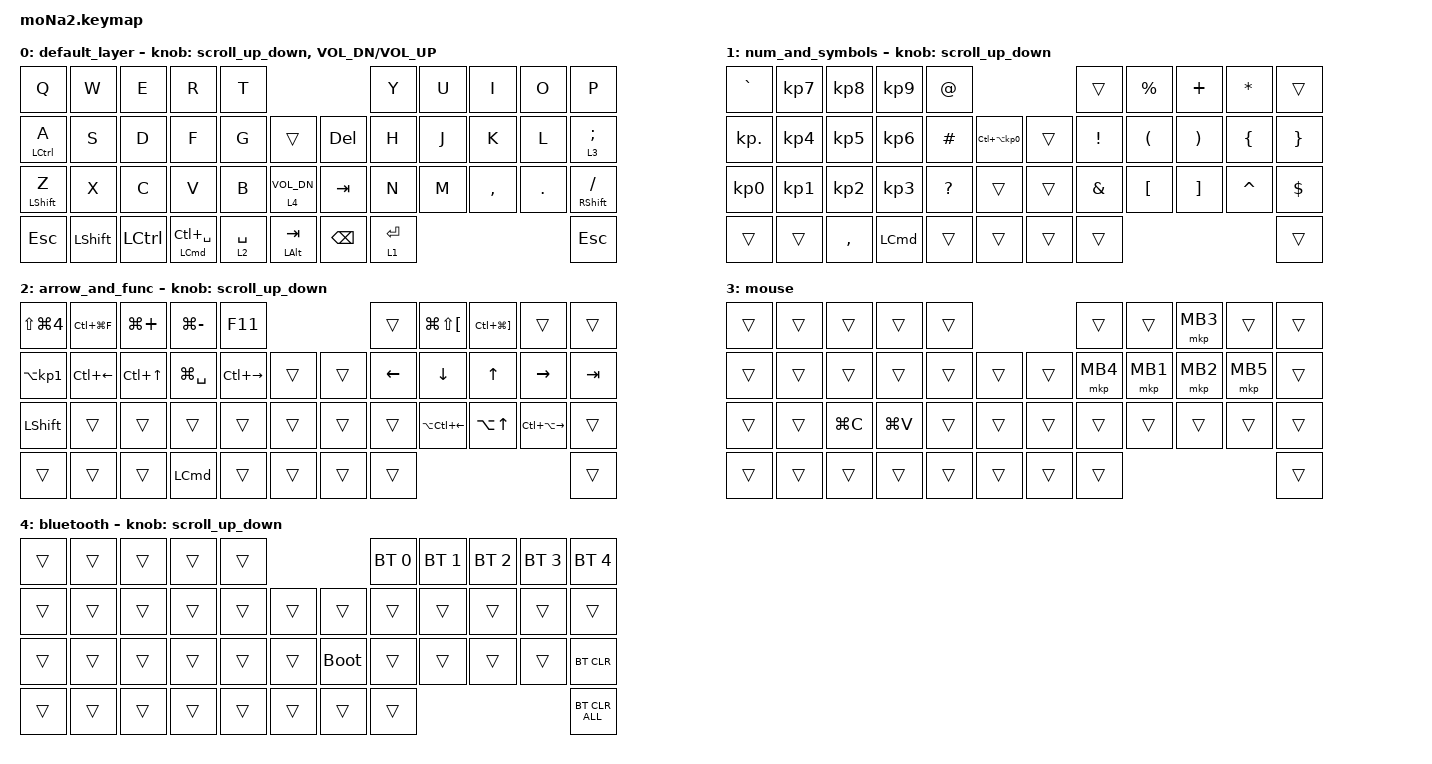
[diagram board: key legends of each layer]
#include <behaviors.dtsi>
#include <dt-bindings/zmk/bt.h>
#include <dt-bindings/zmk/keys.h>
#include <dt-bindings/zmk/pointing.h>

#define ZMK_POINTING_DEFAULT_SCRL_VAL 100
#define MOUSE 6

&mt {
    flavor = "balanced";
    quick-tap-ms = <0>;
};

/ {
    combos {
        compatible = "zmk,combos";

        minus {
            bindings = <&kp MINUS>;
            key-positions = <8 7>;
        };

        eq {
            bindings = <&kp EQUAL>;
            key-positions = <7 20>;
        };

        single_quotation {
            bindings = <&kp SINGLE_QUOTE>;
            key-positions = <21 20>;
        };

        double_quotation {
            bindings = <&kp DOUBLE_QUOTES>;
            key-positions = <20 19>;
        };

        back_slash {
            bindings = <&kp BACKSLASH>;
            key-positions = <32 31>;
        };

        grave {
            bindings = <&kp TILDE>;
            key-positions = <1 2>;
        };

        eq2 {
            bindings = <&kp KP_EQUAL>;
            key-positions = <7 6>;
        };

        dollar {
            bindings = <&kp DOLLAR>;
            key-positions = <30 31>;
        };

        caret {
            bindings = <&kp CARET>;
            key-positions = <24 25>;
        };

        hash {
            bindings = <&kp HASH>;
            key-positions = <23 24>;
        };
    };

    macros {
        to_layer_0: to_layer_0 {
            compatible = "zmk,behavior-macro-one-param";
            #binding-cells = <1>;
            bindings = <&to 1 &macro_param_1to1 &kp MACRO_PLACEHOLDER>;
            label = "TO_LAYER_0";
        };
    };

    behaviors {
        lt_to_layer_0: lt_to_layer_0 {
            compatible = "zmk,behavior-hold-tap";
            label = "LAYER_TAP_TO_0";
            bindings = <&mo>, <&to_layer_0>;

            #binding-cells = <2>;
            tapping-term-ms = <200>;
        };

        scroll_up_down: behavior_sensor_rotate_mouse_wheel_up_down {
            compatible = "zmk,behavior-sensor-rotate";
            #sensor-binding-cells = <0>;
            bindings = <&msc SCRL_UP>, <&msc SCRL_DOWN>;

            tap-ms = <20>;
        };
    };

    keymap {
        compatible = "zmk,keymap";

        default_layer {
            bindings = <
&kp Q               &kp W           &kp E             &kp R                       &kp T                                           &kp Y        &kp U  &kp I      &kp O    &kp P
&mt LEFT_CONTROL A  &kp S           &kp D             &kp F                       &kp G        &trans              &kp DELETE     &kp H        &kp J  &kp K      &kp L    &lt 3 SEMICOLON
&mt LEFT_SHIFT Z    &kp X           &kp C             &kp V                       &kp B        &lt 4 C_VOL_DN      &kp TAB        &kp N        &kp M  &kp COMMA  &kp DOT  &mt RIGHT_SHIFT SLASH
&kp ESC             &kp LEFT_SHIFT  &kp LEFT_CONTROL  &mt LEFT_COMMAND LC(SPACE)  &lt 2 SPACE  &mt LEFT_ALT TAB    &kp BACKSPACE  &lt 1 ENTER                             &kp ESCAPE
            >;

            sensor-bindings =
                <&scroll_up_down>,
                <&inc_dec_kp C_VOL_DN C_VOL_UP>;
        };

        num_and_symbols {
            bindings = <
&kp GRAVE        &kp KP_NUMBER_7  &kp KP_NUMBER_8  &kp KP_NUMBER_9   &kp AT                                           &trans         &kp PERCENT           &kp PLUS               &kp ASTERISK    &trans
&kp KP_DOT       &kp KP_NUMBER_4  &kp KP_NUMBER_5  &kp KP_NUMBER_6   &kp HASH      &kp LC(LA(KP_NUMBER_0))    &trans  &kp EXCL       &kp LEFT_PARENTHESIS  &kp RIGHT_PARENTHESIS  &kp LEFT_BRACE  &kp RIGHT_BRACE
&kp KP_NUMBER_0  &kp KP_NUMBER_1  &kp KP_NUMBER_2  &kp KP_NUMBER_3   &kp QUESTION  &trans                     &trans  &kp AMPERSAND  &kp LEFT_BRACKET      &kp RIGHT_BRACKET      &kp CARET       &kp DOLLAR
&trans           &trans           &kp COMMA        &kp LEFT_COMMAND  &trans        &trans                     &trans  &trans                                                                      &trans
            >;

            sensor-bindings = <&scroll_up_down>;
        };

        arrow_and_func {
            bindings = <
&kp LS(LG(NUMBER_4))  &kp LC(LG(F))       &kp LG(PLUS)      &kp LG(MINUS)     &kp F11                                &trans    &kp LG(LS(LEFT_BRACKET))  &kp LC(LG(RIGHT_BRACKET))  &trans             &trans
&kp LA(KP_NUMBER_1)   &kp LC(LEFT_ARROW)  &kp LC(UP_ARROW)  &kp LG(SPACE)     &kp LC(RIGHT_ARROW)  &trans    &trans  &kp LEFT  &kp DOWN_ARROW            &kp UP_ARROW               &kp RIGHT_ARROW    &kp TAB
&kp LEFT_SHIFT        &trans              &trans            &trans            &trans               &trans    &trans  &trans    &kp LA(LC(LEFT))          &kp LA(UP_ARROW)           &kp LC(LA(RIGHT))  &trans
&trans                &trans              &trans            &kp LEFT_COMMAND  &trans               &trans    &trans  &trans                                                                            &trans
            >;

            sensor-bindings = <&scroll_up_down>;
        };

        mouse {
            bindings = <
&trans  &trans  &trans     &trans     &trans                    &trans    &trans    &mkp MB3  &trans    &trans
&trans  &trans  &trans     &trans     &trans  &trans    &trans  &mkp MB4  &mkp MB1  &mkp MB2  &mkp MB5  &trans
&trans  &trans  &kp LG(C)  &kp LG(V)  &trans  &trans    &trans  &trans    &trans    &trans    &trans    &trans
&trans  &trans  &trans     &trans     &trans  &trans    &trans  &trans                                  &trans
            >;
        };

        bluetooth {
            bindings = <
&trans  &trans  &trans  &trans  &trans                         &bt BT_SEL 0  &bt BT_SEL 1  &bt BT_SEL 2  &bt BT_SEL 3  &bt BT_SEL 4
&trans  &trans  &trans  &trans  &trans  &trans    &trans       &trans        &trans        &trans        &trans        &trans
&trans  &trans  &trans  &trans  &trans  &trans    &bootloader  &trans        &trans        &trans        &trans        &bt BT_CLR
&trans  &trans  &trans  &trans  &trans  &trans    &trans       &trans                                                  &bt BT_CLR_ALL
            >;

            sensor-bindings = <&scroll_up_down>;
        };
    };
};
